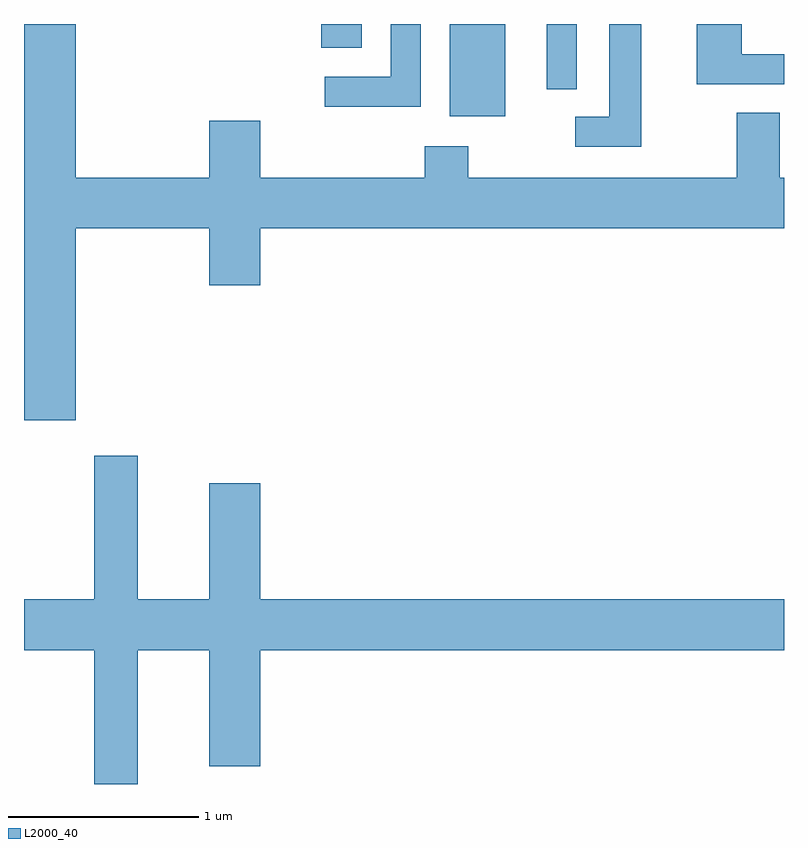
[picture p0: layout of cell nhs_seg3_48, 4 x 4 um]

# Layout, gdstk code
import gdstk
lib = gdstk.Library(unit=1e-6, precision=1e-09)
def R(c, l, rs):  # rectangles x0, y0, x1, y1
    for r in rs: c.add(gdstk.rectangle(r[:2], r[2:], *l))
def P(c, l, *ps):  # polygons
    for p in ps: c.add(gdstk.Polygon(p, *l))
L2000_40 = (2000, 40)

nhs_seg3_48 = lib.new_cell('nhs_seg3_48')
R(nhs_seg3_48, L2000_40, [(187.851,1215.406,188.144,1215.892), (188.361,1215.548,188.519,1215.892), (187.176,1215.766,187.389,1215.892)])
P(nhs_seg3_48, L2000_40, [(185.884,1214.816),(186.586,1214.816),(186.586,1214.516),(186.854,1214.516),(186.854,1214.816),(189.611,1214.816),(189.611,1215.084),(189.589,1215.084),(189.589,1215.424),(189.361,1215.424),(189.361,1215.084),(187.949,1215.084),(187.949,1215.249),(187.721,1215.249),(187.721,1215.084),(186.854,1215.084),(186.854,1215.384),(186.586,1215.384),(186.586,1215.084),(185.884,1215.084),(185.884,1215.892),(185.611,1215.892),(185.611,1213.806),(185.884,1213.806)],
  [(187.699,1215.892),(187.541,1215.892),(187.541,1215.614),(187.193,1215.614),(187.193,1215.456),(187.699,1215.456)],
  [(188.859,1215.892),(188.691,1215.892),(188.691,1215.404),(188.513,1215.404),(188.513,1215.246),(188.859,1215.246)],
  [(189.611,1215.734),(189.389,1215.734),(189.389,1215.892),(189.151,1215.892),(189.151,1215.576),(189.611,1215.576)],
  [(186.209,1212.596),(186.586,1212.596),(186.586,1211.986),(186.854,1211.986),(186.854,1212.596),(189.611,1212.596),(189.611,1212.864),(186.854,1212.864),(186.854,1213.474),(186.586,1213.474),(186.586,1212.864),(186.209,1212.864),(186.209,1213.619),(185.981,1213.619),(185.981,1212.864),(185.611,1212.864),(185.611,1212.596),(185.981,1212.596),(185.981,1211.892),(186.209,1211.892)])

lib.write_gds('nhs_seg3_48.gds')
